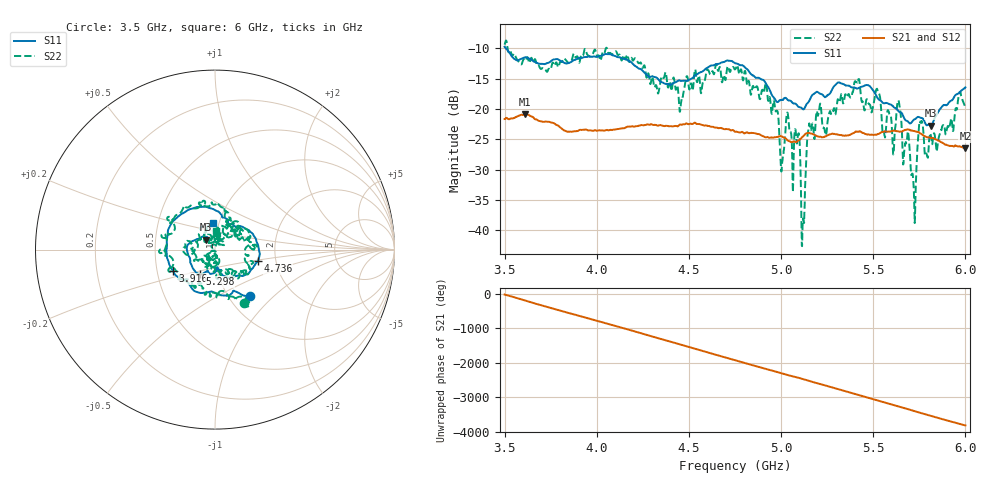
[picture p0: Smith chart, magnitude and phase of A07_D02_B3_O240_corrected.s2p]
! Created with skrf 1.9.0 (http://scikit-rf.org).
# Hz S RI R 50.0
!freq ReS11 ImS11 ReS21 ImS21 ReS12 ImS12 ReS22 ImS22
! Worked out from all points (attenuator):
!   1601 points, 3.5 GHz to 6 GHz, reference 50 ohm
!   highest |S21| = -20.89 dB at 3.611 GHz (marker M1); lowest = -26.4 dB at 6 GHz (marker M2)
!   lowest |S11| = -22.7 dB at 5.814 GHz (marker M3), VSWR 1.16, Z = 45.2 + j5 ohm
!   |S11| at or under -10 dB: 3.507 GHz to end of sweep
!   |S22| runs from -42.6 to -8.7 dB; largest |S21 - S12| = 0.001
!   S11 on the Smith chart (normalised r, x): 3.5 GHz: 1.25, -0.73; 3.916 GHz: 0.61, -0.15; 4.736 GHz: 1.61, -0.22; 5.298 GHz: 0.81, -0.23; 6 GHz: 0.93, +0.29
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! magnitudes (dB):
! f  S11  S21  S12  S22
! 3.5 GHz  -9.8  -21.6  -21.6  -9.4
! 3.611 GHz  -11.5  -20.9  -20.9  -12.0
! 3.916 GHz  -11.6  -23.5  -23.4  -11.2
! 3.917 GHz  -11.6  -23.5  -23.4  -11.1
! 4.334 GHz  -15.1  -22.7  -22.6  -17.3
! 4.736 GHz  -12.2  -23.5  -23.5  -13.2
! 4.75 GHz  -12.4  -23.8  -23.7  -13.5
! 4.969 GHz  -18.5  -24.6  -24.6  -20.2
! 5.005 GHz  -18.5  -24.5  -24.5  -29.2
! 5.034 GHz  -18.5  -25.2  -25.1  -20.6
! 5.088 GHz  -19.4  -25.3  -25.3  -25.4
! 5.119 GHz  -20.0  -24.5  -24.4  -38.1
! 5.145 GHz  -19.0  -23.9  -23.9  -23.8
! 5.167 GHz  -17.8  -24.1  -24.0  -22.7
! 5.298 GHz  -15.9  -24.2  -24.1  -20.4
! 5.412 GHz  -16.6  -23.7  -23.7  -15.6
! 5.584 GHz  -19.2  -23.7  -23.7  -20.4
! 5.641 GHz  -20.5  -23.7  -23.7  -19.1
! 5.719 GHz  -21.8  -23.6  -23.5  -32.6
! 5.756 GHz  -21.4  -24.0  -24.0  -22.3
! 5.814 GHz  -22.7  -24.8  -24.7  -24.6
! 6 GHz  -16.4  -26.4  -26.4  -19.9
